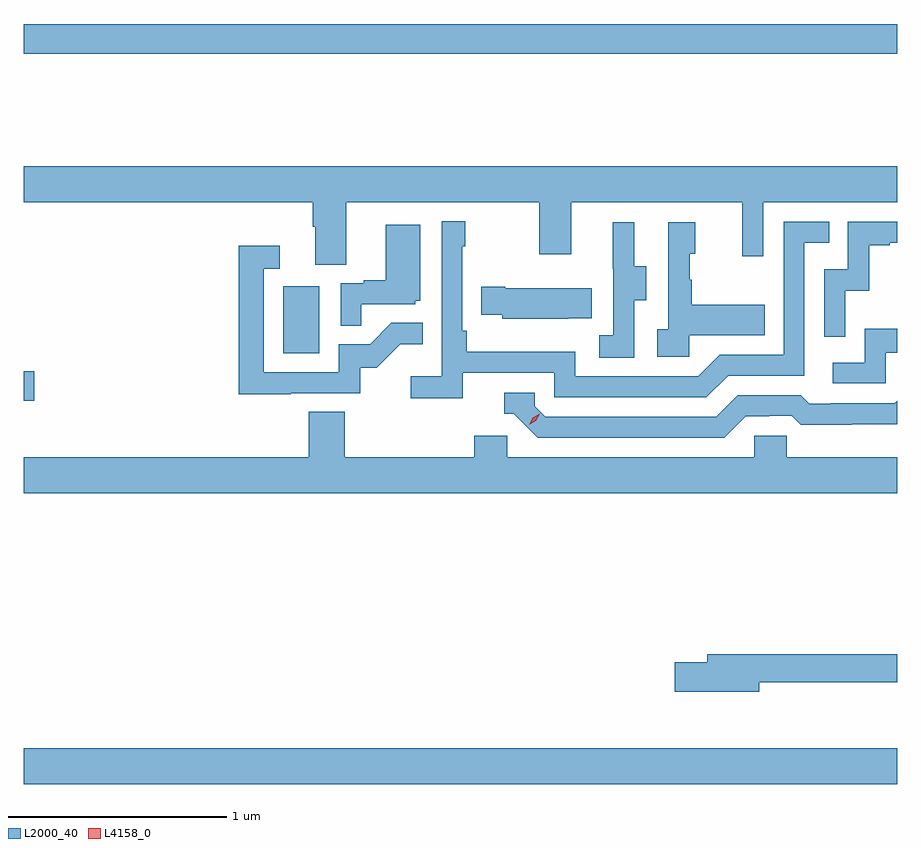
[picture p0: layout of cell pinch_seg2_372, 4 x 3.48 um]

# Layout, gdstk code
import gdstk
lib = gdstk.Library(unit=1e-6, precision=1e-09)
def R(c, l, rs):  # rectangles x0, y0, x1, y1
    for r in rs: c.add(gdstk.rectangle(r[:2], r[2:], *l))
def P(c, l, *ps):  # polygons
    for p in ps: c.add(gdstk.Polygon(p, *l))
L2000_40 = (2000, 40)
L4158_0 = (4158, 0)

pinch_seg2_372 = lib.new_cell('pinch_seg2_372')
R(pinch_seg2_372, L2000_40, [(1007.509,614.336,1011.509,614.5), (1007.509,616.091,1007.557,616.226), (1008.698,616.308,1008.862,616.615), (1007.509,617.68,1011.509,617.816)])
P(pinch_seg2_372, L2000_40, [(1008.985,617),(1009.87,617),(1009.87,616.761),(1010.017,616.761),(1010.017,617),(1010.798,617),(1010.798,616.752),(1010.895,616.752),(1010.895,617),(1011.509,617),(1011.509,617.164),(1007.509,617.164),(1007.509,617),(1008.833,617),(1008.833,616.888),(1008.845,616.888),(1008.845,616.714),(1008.985,616.714)],
  [(1009.52,616.218),(1009.938,616.218),(1009.938,616.107),(1010.635,616.107),(1010.734,616.206),(1011.084,616.206),(1011.084,616.815),(1011.197,616.815),(1011.197,616.911),(1010.988,616.911),(1010.988,616.302),(1010.697,616.302),(1010.598,616.203),(1010.034,616.203),(1010.034,616.315),(1009.538,616.315),(1009.538,616.411),(1009.518,616.411),(1009.518,616.799),(1009.531,616.799),(1009.531,616.912),(1009.422,616.912),(1009.422,616.204),(1009.281,616.204),(1009.281,616.102),(1009.52,616.102)],
  [(1011.27,616.595),(1011.38,616.595),(1011.38,616.803),(1011.475,616.803),(1011.475,616.815),(1011.509,616.815),(1011.509,616.911),(1011.282,616.911),(1011.282,616.692),(1011.174,616.692),(1011.174,616.383),(1011.27,616.383)],
  [(1010.556,616.391),(1010.903,616.391),(1010.903,616.531),(1010.569,616.531),(1010.569,616.646),(1010.559,616.646),(1010.559,616.764),(1010.584,616.764),(1010.584,616.909),(1010.46,616.909),(1010.46,616.418),(1010.409,616.418),(1010.409,616.293),(1010.556,616.293)],
  [(1010.304,616.552),(1010.359,616.552),(1010.359,616.707),(1010.305,616.707),(1010.305,616.909),(1010.207,616.909),(1010.207,616.695),(1010.208,616.695),(1010.208,616.391),(1010.145,616.391),(1010.145,616.288),(1010.304,616.288)],
  [(1009.055,616.533),(1009.302,616.533),(1009.302,616.548),(1009.324,616.548),(1009.324,616.897),(1009.166,616.897),(1009.166,616.642),(1009.067,616.642),(1009.067,616.629),(1008.96,616.629),(1008.96,616.435),(1009.055,616.435)],
  [(1008.731,616.125),(1009.05,616.125),(1009.05,616.242),(1009.126,616.242),(1009.233,616.349),(1009.337,616.349),(1009.337,616.448),(1009.193,616.448),(1009.095,616.35),(1008.951,616.35),(1008.951,616.221),(1008.609,616.221),(1008.609,616.695),(1008.682,616.695),(1008.682,616.801),(1008.493,616.801),(1008.493,616.12),(1008.731,616.12)],
  [(1010.003,616.469),(1010.111,616.469),(1010.111,616.606),(1009.714,616.606),(1009.714,616.614),(1009.603,616.614),(1009.603,616.484),(1009.701,616.484),(1009.701,616.466),(1010.003,616.466)],
  [(1011.456,616.311),(1011.509,616.311),(1011.509,616.42),(1011.36,616.42),(1011.36,616.266),(1011.213,616.266),(1011.213,616.17),(1011.456,616.17)],
  [(1010.815,616.02),(1010.922,616.02),(1010.922,616.023),(1011.025,616.023),(1011.067,615.981),(1011.3,615.981),(1011.3,615.983),(1011.509,615.983),(1011.509,616.091),(1011.498,616.08),(1011.205,616.08),(1011.205,616.077),(1011.106,616.077),(1011.067,616.116),(1010.778,616.116),(1010.679,616.017),(1009.896,616.017),(1009.848,616.065),(1009.848,616.128),(1009.709,616.128),(1009.709,616.032),(1009.752,616.032),(1009.863,615.921),(1010.716,615.921)],
  [(1011.509,615.832),(1011.003,615.832),(1011.003,615.93),(1010.853,615.93),(1010.853,615.832),(1009.722,615.832),(1009.722,615.93),(1009.571,615.93),(1009.571,615.832),(1008.98,615.832),(1008.98,616.04),(1008.815,616.04),(1008.815,615.832),(1007.509,615.832),(1007.509,615.668),(1011.509,615.668)],
  [(1010.878,614.802),(1011.509,614.802),(1011.509,614.93),(1010.639,614.93),(1010.639,614.894),(1010.49,614.894),(1010.49,614.759),(1010.878,614.759)])
P(pinch_seg2_372, L4158_0, [(1009.823,615.98),(1009.823,615.98),(1009.84,616.013),(1009.871,616.032),(1009.871,616.032),(1009.871,616.032),(1009.854,615.999),(1009.824,615.98)])

lib.write_gds('pinch_seg2_372.gds')
